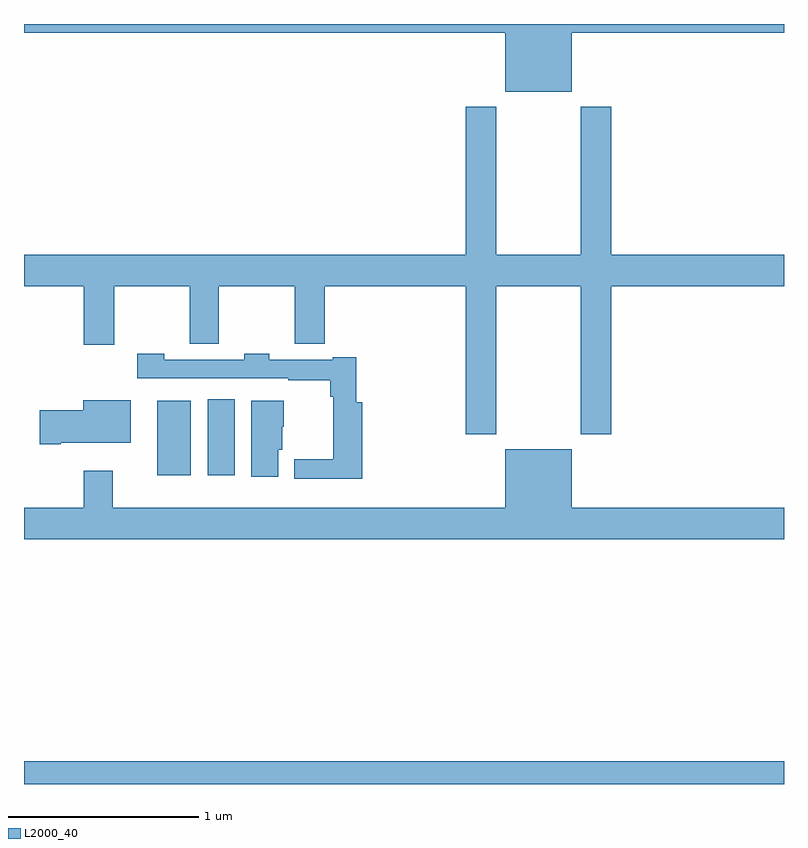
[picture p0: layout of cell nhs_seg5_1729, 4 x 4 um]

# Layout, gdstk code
import gdstk
lib = gdstk.Library(unit=1e-6, precision=1e-09)
def R(c, l, rs):  # rectangles x0, y0, x1, y1
    for r in rs: c.add(gdstk.rectangle(r[:2], r[2:], *l))
def P(c, l, *ps):  # polygons
    for p in ps: c.add(gdstk.Polygon(p, *l))
L2000_40 = (2000, 40)

nhs_seg5_1729 = lib.new_cell('nhs_seg5_1729')
R(nhs_seg5_1729, L2000_40, [(215,860.799,219,860.92), (215.702,862.424,215.878,862.816), (215.966,862.424,216.109,862.825)])
P(nhs_seg5_1729, L2000_40, [(217.882,864.752),(219,864.752),(219,864.799),(215,864.799),(215,864.752),(217.532,864.752),(217.532,864.443),(217.882,864.443)],
  [(215,863.42),(215.315,863.42),(215.315,863.112),(215.475,863.112),(215.475,863.42),(215.872,863.42),(215.872,863.116),(216.026,863.116),(216.026,863.42),(216.424,863.42),(216.424,863.116),(216.584,863.116),(216.584,863.42),(217.325,863.42),(217.325,862.641),(217.485,862.641),(217.485,863.42),(217.93,863.42),(217.93,862.641),(218.09,862.641),(218.09,863.42),(219,863.42),(219,863.584),(218.09,863.584),(218.09,864.364),(217.93,864.364),(217.93,863.584),(217.485,863.584),(217.485,864.364),(217.325,864.364),(217.325,863.584),(215,863.584)],
  [(216.779,862.807),(216.749,862.807),(216.749,863.044),(216.626,863.044),(216.626,863.031),(216.291,863.031),(216.291,863.064),(216.159,863.064),(216.159,863.031),(215.739,863.031),(215.739,863.064),(215.595,863.064),(215.595,862.935),(216.391,862.935),(216.391,862.923),(216.613,862.923),(216.613,862.838),(216.628,862.838),(216.628,862.508),(216.423,862.508),(216.423,862.406),(216.779,862.406)],
  [(215.194,862.595),(215.563,862.595),(215.563,862.819),(215.312,862.819),(215.312,862.766),(215.082,862.766),(215.082,862.588),(215.194,862.588)],
  [(216.337,862.557),(216.358,862.557),(216.358,862.68),(216.367,862.68),(216.367,862.816),(216.197,862.816),(216.197,862.416),(216.337,862.416)],
  [(219,862.252),(217.882,862.252),(217.882,862.561),(217.532,862.561),(217.532,862.252),(215.467,862.252),(215.467,862.447),(215.315,862.447),(215.315,862.252),(215,862.252),(215,862.088),(219,862.088)])

lib.write_gds('nhs_seg5_1729.gds')
